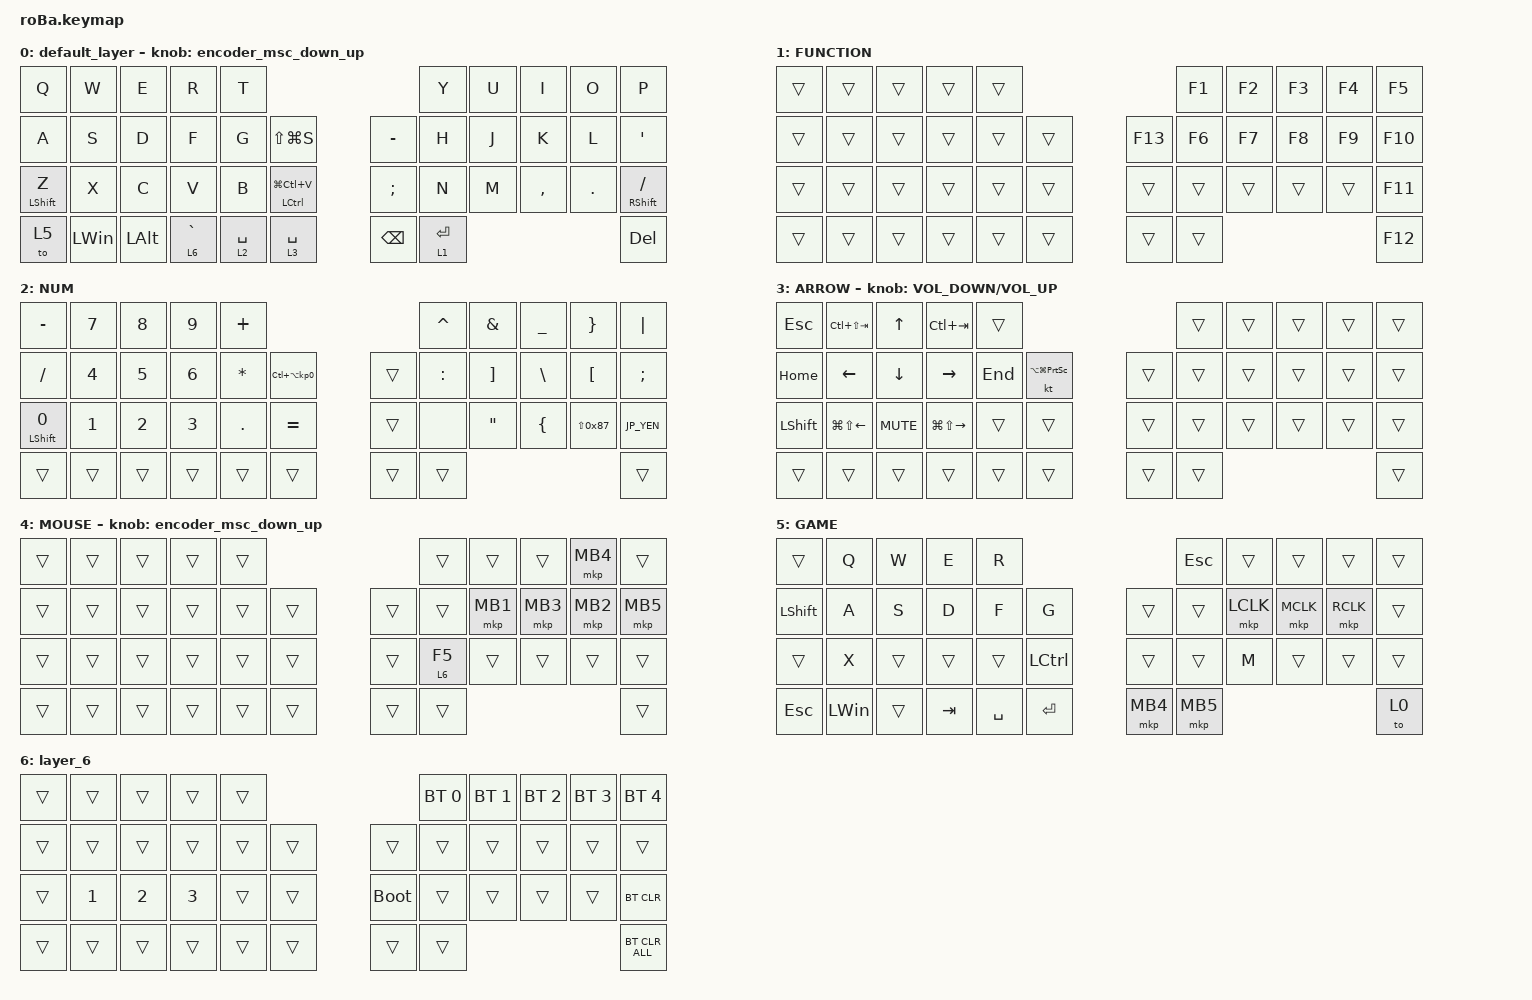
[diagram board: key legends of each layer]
#include <behaviors.dtsi>
#include <dt-bindings/zmk/bt.h>
#include <dt-bindings/zmk/keys.h>
#include <dt-bindings/zmk/pointing.h>

#define ZMK_POINTING_DEFAULT_SCRL_VAL 100
#define JP_DQUOTE       AT                // "
#define JP_AMPERSAND    CARET             // &
#define JP_QUOTE        AMPERSAND         // '
#define JP_EQUAL        UNDER             // =
#define JP_CARET        EQUAL             // ^
#define JP_YEN          0x89              // ¥
#define JP_PLUS         COLON             // +
#define JP_TILDE        PLUS              // ~
#define JP_PIPE         LS(0x89)          // |
#define JP_AT           LEFT_BRACKET      // @
#define JP_COLON        SINGLE_QUOTE      // :
#define JP_ASTERISK     DOUBLE_QUOTES     // *
#define JP_BACKQUOTE    LEFT_BRACE        // `
#define JP_UNDERSCORE   LS(0x87)          // _
#define JP_LBRACKET     RIGHT_BRACKET     // [
#define JP_RBRACKET     BACKSLASH         // ]
#define JP_LPAREN       ASTERISK          // (
#define JP_RPAREN       LEFT_PARENTHESIS  // )
#define JP_LBRACE       RIGHT_BRACE       // {
#define JP_RBRACE       PIPE              // }
#define JP_KANA         LANGUAGE_1        // かな
#define JP_EISU         LANGUAGE_2        // 英数
#define JP_HANZEN       GRAVE             // 半角/全角

&mt {
    flavor = "balanced";
    quick-tap-ms = <0>;
};

&trackball {
    automouse-layer = <4>;
    scroll-layers = <5>;

    // arrows {
    //     layers = <3>;
    //     bindings =
    //         <&kp RIGHT_ARROW>,
    //         <&kp LEFT_ARROW>,
    //         <&kp UP_ARROW>,
    //         <&kp DOWN_ARROW>;
    //     tick = <10>;
    //     wait-ms = <5>;
    //     tap-ms = <5>;
    // };
};

/ {
    combos {
        compatible = "zmk,combos";

        tab {
            bindings = <&kp TAB>;
            key-positions = <11 12>;
        };

        shift_tab {
            bindings = <&kp LS(TAB)>;
            key-positions = <12 13>;
        };

        muhennkann {
            bindings = <&to_layer_0 INT_MUHENKAN>;
            key-positions = <11 10>;
        };

        double_quotation {
            bindings = <&kp DOUBLE_QUOTES>;
            key-positions = <20 21>;
        };

        eq {
            bindings = <&kp EQUAL>;
            key-positions = <24 25>;
        };
    };

    macros {
        to_layer_0: to_layer_0 {
            compatible = "zmk,behavior-macro-one-param";
            #binding-cells = <1>;
            bindings = <&to 0 &macro_param_1to1 &kp MACRO_PLACEHOLDER>;
            label = "TO_LAYER_0";
        };
    };

    behaviors {
        lt_to_layer_0: lt_to_layer_0 {
            compatible = "zmk,behavior-hold-tap";
            label = "LAYER_TAP_TO_0";
            bindings = <&mo>, <&to_layer_0>;

            #binding-cells = <2>;
            tapping-term-ms = <200>;
        };

        encoder_msc_down_up: encoder_msc_down_up {
            compatible = "zmk,behavior-sensor-rotate";
            label = "ENCODER_MSC_DOWN_UP";
            #sensor-binding-cells = <0>;
            bindings = <&msc SCRL_DOWN>, <&msc SCRL_UP>;

            tap-ms = <20>;
        };
    };

    keymap {
        compatible = "zmk,keymap";

        default_layer {
            bindings = <
&kp Q             &kp W         &kp E         &kp R                       &kp T                                                       &kp Y        &kp U  &kp I      &kp O    &kp P
&kp A             &kp S         &kp D         &kp F                       &kp G        &kp LS(LG(S))                   &kp MINUS      &kp H        &kp J  &kp K      &kp L    &kp SQT
&mt LEFT_SHIFT Z  &kp X         &kp C         &kp V                       &kp B        &mt LEFT_CONTROL LG(LC(V))      &kp SEMICOLON  &kp N        &kp M  &kp COMMA  &kp DOT  &mt RIGHT_SHIFT SLASH
&to 5             &kp LEFT_WIN  &kp LEFT_ALT  &lt_to_layer_0 6 JP_HANZEN  &lt 2 SPACE  &lt_to_layer_0 3 SPACE          &kp BACKSPACE  &lt 1 ENTER                             &kp DEL
            >;

            sensor-bindings = <&encoder_msc_down_up>;
        };

        FUNCTION {
            bindings = <
&trans  &trans  &trans  &trans  &trans                       &kp F1  &kp F2  &kp F3  &kp F4  &kp F5
&trans  &trans  &trans  &trans  &trans  &trans      &kp F13  &kp F6  &kp F7  &kp F8  &kp F9  &kp F10
&trans  &trans  &trans  &trans  &trans  &trans      &trans   &trans  &trans  &trans  &trans  &kp F11
&trans  &trans  &trans  &trans  &trans  &trans      &trans   &trans                          &kp F12
            >;
        };

        NUM {
            bindings = <
&kp MINUS          &kp N7  &kp N8  &kp N9  &kp PLUS                                           &kp JP_AMPERSAND  &kp JP_QUOTE     &kp JP_EQUAL      &kp JP_LBRACE      &kp JP_RBRACE
&kp SLASH          &kp N4  &kp N5  &kp N6  &kp ASTERISK  &kp LC(LA(KP_NUMBER_0))      &trans  &kp JP_PLUS       &kp JP_LBRACKET  &kp JP_RBRACKET   &kp JP_AT          &kp SEMICOLON
&mt LEFT_SHIFT N0  &kp N1  &kp N2  &kp N3  &kp PERIOD    &kp EQUAL                    &trans  &none             &kp JP_ASTERISK  &kp JP_BACKQUOTE  &kp JP_UNDERSCORE  &kp JP_YEN
&trans             &trans  &trans  &trans  &trans        &trans                       &trans  &trans                                                                  &trans
            >;
        };

        ARROW {
            bindings = <
&kp ESCAPE      &kp LC(LS(TAB))         &kp UP_ARROW    &kp LC(TAB)              &trans                                        &trans  &trans  &trans  &trans  &trans
&kp HOME        &kp LEFT_ARROW          &kp DOWN_ARROW  &kp RIGHT_ARROW          &kp END  &kt LA(LG(PRINTSCREEN))      &trans  &trans  &trans  &trans  &trans  &trans
&kp LEFT_SHIFT  &kp LG(LS(LEFT_ARROW))  &kp K_MUTE      &kp LG(LS(RIGHT_ARROW))  &trans   &trans                       &trans  &trans  &trans  &trans  &trans  &trans
&trans          &trans                  &trans          &trans                   &trans   &trans                       &trans  &trans                          &trans
            >;

            sensor-bindings = <&inc_dec_kp C_VOLUME_DOWN C_VOLUME_UP>;
        };

        MOUSE {
            bindings = <
&trans  &trans  &trans  &trans  &trans                      &trans               &trans    &trans    &mkp MB4  &trans
&trans  &trans  &trans  &trans  &trans  &trans      &trans  &trans               &mkp MB1  &mkp MB3  &mkp MB2  &mkp MB5
&trans  &trans  &trans  &trans  &trans  &trans      &trans  &lt_to_layer_0 6 F5  &trans    &trans    &trans    &trans
&trans  &trans  &trans  &trans  &trans  &trans      &trans  &trans                                             &trans
            >;

            sensor-bindings = <&encoder_msc_down_up>;
        };

        GAME {
            bindings = <
&trans          &kp Q         &kp W   &kp E    &kp R                               &kp ESC   &trans     &trans     &trans     &trans
&kp LEFT_SHIFT  &kp A         &kp S   &kp D    &kp F      &kp G          &trans    &trans    &mkp LCLK  &mkp MCLK  &mkp RCLK  &trans
&trans          &kp X         &trans  &trans   &trans     &kp LCTRL      &trans    &trans    &kp M      &trans     &trans     &trans
&kp ESC         &kp LEFT_WIN  &trans  &kp TAB  &kp SPACE  &kp ENTER      &mkp MB4  &mkp MB5                                   &to 0
            >;
        };

        layer_6 {
            bindings = <
&trans  &trans        &trans        &trans        &trans                           &bt BT_SEL 0  &bt BT_SEL 1  &bt BT_SEL 2  &bt BT_SEL 3  &bt BT_SEL 4
&trans  &trans        &trans        &trans        &trans  &trans      &trans       &trans        &trans        &trans        &trans        &trans
&trans  &kp NUMBER_1  &kp NUMBER_2  &kp NUMBER_3  &trans  &trans      &bootloader  &trans        &trans        &trans        &trans        &bt BT_CLR
&trans  &trans        &trans        &trans        &trans  &trans      &trans       &trans                                                  &bt BT_CLR_ALL
            >;
        };
    };
};
